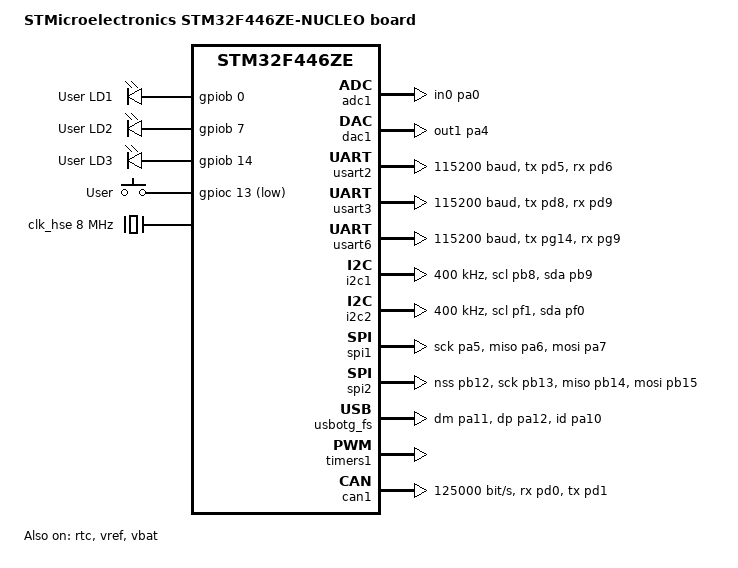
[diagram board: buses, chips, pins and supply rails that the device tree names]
/*
 * Copyright (c) 2021 Tom Owen
 *
 * SPDX-License-Identifier: Apache-2.0
 */

/dts-v1/;
#include <st/f4/stm32f446Xe.dtsi>
#include <st/f4/stm32f446z(c-e)tx-pinctrl.dtsi>
#include "arduino_r3_connector.dtsi"
#include <zephyr/dt-bindings/input/input-event-codes.h>

/ {
	model = "STMicroelectronics STM32F446ZE-NUCLEO board";
	compatible = "st,stm32f446ze-nucleo";

	chosen {
		zephyr,console = &usart3;
		zephyr,shell-uart = &usart3;
		zephyr,sram = &sram0;
		zephyr,flash = &flash0;
		zephyr,canbus = &can1;
	};

	leds: leds {
		compatible = "gpio-leds";
		green_led_1: led_1 {
			gpios = <&gpiob 0 GPIO_ACTIVE_HIGH>;
			label = "User LD1";
		};
		blue_led_2: led_2 {
			gpios = <&gpiob 7 GPIO_ACTIVE_HIGH>;
			label = "User LD2";
		};
		red_led_3: led_3 {
			gpios = <&gpiob 14 GPIO_ACTIVE_HIGH>;
			label = "User LD3";
		};
	};

	gpio_keys {
		compatible = "gpio-keys";
		user_button: button {
			label = "User";
			gpios = <&gpioc 13 GPIO_ACTIVE_LOW>;
			zephyr,code = <INPUT_KEY_0>;
		};
	};

	aliases {
		led0 = &green_led_1;
		led1 = &blue_led_2;
		led2 = &red_led_3;
		sw0 = &user_button;
		volt-sensor0 = &vref;
		volt-sensor1 = &vbat;
	};
};

&clk_lsi {
	status = "okay";
};

&clk_hse {
	hse-bypass;
	clock-frequency = <DT_FREQ_M(8)>; /* STLink 8MHz clock */
	status = "okay";
};

&pll {
	div-m = <8>;
	mul-n = <336>;
	div-p = <2>;
	div-q = <7>;
	clocks = <&clk_hse>;
	status = "okay";
};

&rcc {
	clocks = <&pll>;
	clock-frequency = <DT_FREQ_M(168)>; /* highest value to get a precise USB clock */
	ahb-prescaler = <1>;
	apb1-prescaler = <4>;
	apb2-prescaler = <2>;
};

&adc1 {
	pinctrl-0 = <&adc1_in0_pa0>;
	pinctrl-names = "default";
	st,adc-clock-source = <SYNC>;
	st,adc-prescaler = <2>;
	status = "okay";
};

&dac1 {
	status = "okay";
	pinctrl-0 = <&dac_out1_pa4>;
	pinctrl-names = "default";
};

&usart2 {
	pinctrl-0 = <&usart2_tx_pd5 &usart2_rx_pd6>;
	pinctrl-names = "default";
	current-speed = <115200>;
	status = "okay";
};

&usart3 {
	pinctrl-0 = <&usart3_tx_pd8 &usart3_rx_pd9>;
	pinctrl-names = "default";
	current-speed = <115200>;
	status = "okay";
};

&usart6 {
	pinctrl-0 = <&usart6_tx_pg14 &usart6_rx_pg9>;
	pinctrl-names = "default";
	current-speed = <115200>;
	status = "okay";
};


&i2c1 {
	pinctrl-0 = <&i2c1_scl_pb8 &i2c1_sda_pb9>;
	pinctrl-names = "default";
	status = "okay";
	clock-frequency = <I2C_BITRATE_FAST>;
};

&i2c2 {
	pinctrl-0 = <&i2c2_scl_pf1 &i2c2_sda_pf0>;
	pinctrl-names = "default";
	status = "okay";
	clock-frequency = <I2C_BITRATE_FAST>;
};


&spi1 {
	pinctrl-0 = <&spi1_sck_pa5 &spi1_miso_pa6 &spi1_mosi_pa7>;
	pinctrl-names = "default";
	cs-gpios = <&gpiod 14 (GPIO_ACTIVE_LOW | GPIO_PULL_UP)>;
	status = "okay";
};

&spi2 {
	pinctrl-0 = <&spi2_nss_pb12 &spi2_sck_pb13
		&spi2_miso_pb14 &spi2_mosi_pb15>;
	pinctrl-names = "default";
	status = "okay";
};

zephyr_udc0: &usbotg_fs {
	pinctrl-0 = <&usb_otg_fs_dm_pa11 &usb_otg_fs_dp_pa12
		&usb_otg_fs_id_pa10>;
	pinctrl-names = "default";
	status = "okay";
};


&timers1 {
	status = "okay";

	pwm1: pwm {
		status = "okay";
		pinctrl-0 = <&tim1_ch1_pe9>;
		pinctrl-names = "default";
	};
};

&rtc {
	clocks = <&rcc STM32_CLOCK_BUS_APB1 0x10000000>,
		 <&rcc STM32_SRC_LSI RTC_SEL(2)>;
	status = "okay";
};

&backup_sram {
	status = "okay";
};

&can1 {
	pinctrl-0 = <&can1_rx_pd0 &can1_tx_pd1>;
	pinctrl-names = "default";
	bus-speed = <125000>;
	status = "okay";
};

&flash0 {

	partitions {
		compatible = "fixed-partitions";
		#address-cells = <1>;
		#size-cells = <1>;

		boot_partition: partition@0 {
			label = "mcuboot";
			reg = <0x00000000 DT_SIZE_K(64)>;
			read-only;
		};

		/*
		 * The flash starting at 0x00010000 and ending at
		 * 0x0001ffff (sectors 16-31) is reserved for use
		 * by the application.
		 */
		storage_partition: partition@10000 {
			label = "storage";
			reg = <0x00010000 DT_SIZE_K(64)>;
		};

		slot0_partition: partition@20000 {
			label = "image-0";
			reg = <0x00020000 DT_SIZE_K(128)>;
		};
		slot1_partition: partition@40000 {
			label = "image-1";
			reg = <0x00040000 DT_SIZE_K(128)>;
		};
		scratch_partition: partition@60000 {
			label = "image-scratch";
			reg = <0x00060000 DT_SIZE_K(128)>;
		};
	};
};

&vref {
	status = "okay";
};

&vbat {
	status = "okay";
};
